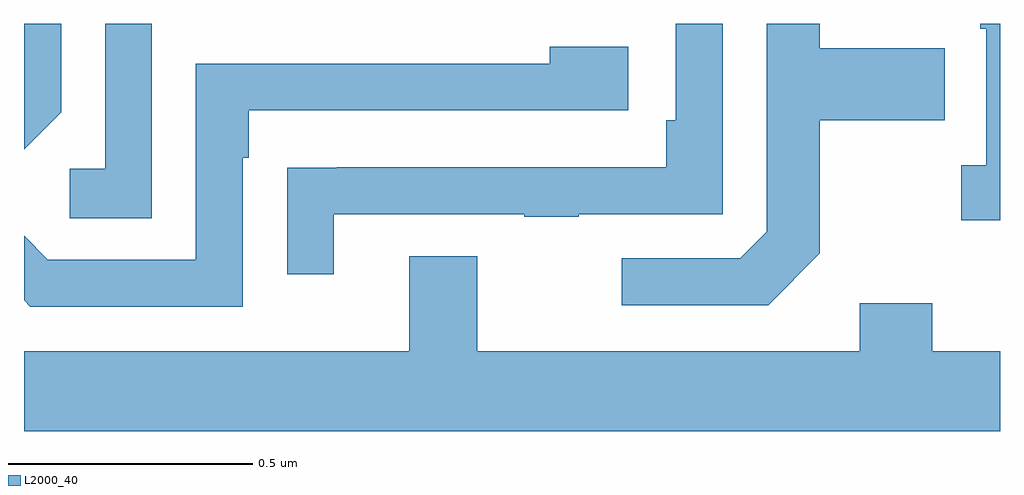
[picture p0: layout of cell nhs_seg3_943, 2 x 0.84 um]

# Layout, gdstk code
import gdstk
lib = gdstk.Library(unit=1e-6, precision=1e-09)
def P(c, l, *ps):  # polygons
    for p in ps: c.add(gdstk.Polygon(p, *l))
L2000_40 = (2000, 40)

nhs_seg3_943 = lib.new_cell('nhs_seg3_943')
P(nhs_seg3_943, L2000_40, [(122.262,720.4),(122.166,720.4),(122.166,720.102),(122.094,720.102),(122.094,720.001),(122.262,720.001)],
  [(124,720.4),(123.96,720.4),(123.96,720.389),(123.972,720.389),(123.972,720.11),(123.921,720.11),(123.921,719.997),(124,719.997)],
  [(122.635,720.009),(123.025,720.009),(123.025,720.004),(123.137,720.004),(123.137,720.009),(123.432,720.009),(123.432,720.4),(123.336,720.4),(123.336,720.202),(123.316,720.202),(123.316,720.105),(122.641,720.105),(122.641,720.104),(122.539,720.104),(122.539,719.886),(122.635,719.886)],
  [(122.076,720.218),(122.076,720.4),(122,720.4),(122,720.142)],
  [(123.631,719.929),(123.631,720.202),(123.887,720.202),(123.887,720.349),(123.631,720.349),(123.631,720.4),(123.522,720.4),(123.522,719.973),(123.468,719.919),(123.225,719.919),(123.225,719.823),(123.525,719.823)],
  [(122.448,720.125),(122.461,720.125),(122.461,720.222),(123.238,720.222),(123.238,720.352),(123.077,720.352),(123.077,720.318),(122.352,720.318),(122.352,719.916),(122.049,719.916),(122,719.965),(122,719.833),(122.013,719.82),(122.448,719.82)],
  [(124,719.728),(123.861,719.728),(123.861,719.827),(123.713,719.827),(123.713,719.728),(122.929,719.728),(122.929,719.923),(122.789,719.923),(122.789,719.728),(122,719.728),(122,719.564),(124,719.564)])

lib.write_gds('nhs_seg3_943.gds')
